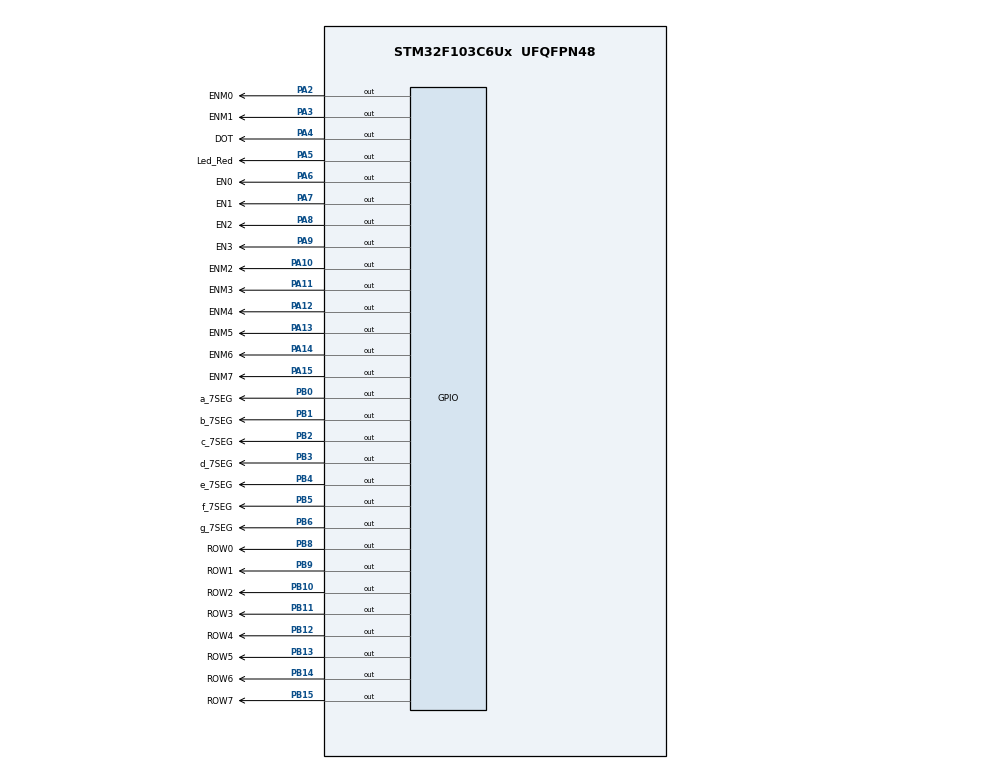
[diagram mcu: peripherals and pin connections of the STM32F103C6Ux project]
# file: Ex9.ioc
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Mcu.Family=STM32F1
Mcu.Name=STM32F103C6Ux
Mcu.Package=UFQFPN48
NVIC.PriorityGroup=NVIC_PRIORITYGROUP_4
NVIC.TIM2_IRQn=true\:0\:0\:false\:false\:true\:true\:true
PA10.GPIO_Label=ENM2
PA10.Signal=GPIO_Output
PA11.GPIO_Label=ENM3
PA11.Signal=GPIO_Output
PA12.GPIO_Label=ENM4
PA12.Signal=GPIO_Output
PA13.GPIO_Label=ENM5
PA13.Signal=GPIO_Output
PA14.GPIO_Label=ENM6
PA14.Signal=GPIO_Output
PA15.GPIO_Label=ENM7
PA15.Signal=GPIO_Output
PA2.GPIO_Label=ENM0
PA2.Signal=GPIO_Output
PA3.GPIO_Label=ENM1
PA3.Signal=GPIO_Output
PA4.GPIO_Label=DOT
PA4.Signal=GPIO_Output
PA5.GPIO_Label=Led_Red
PA5.Signal=GPIO_Output
PA6.GPIO_Label=EN0
PA6.Signal=GPIO_Output
PA7.GPIO_Label=EN1
PA7.Signal=GPIO_Output
PA8.GPIO_Label=EN2
PA8.Signal=GPIO_Output
PA9.GPIO_Label=EN3
PA9.Signal=GPIO_Output
PB0.GPIO_Label=a_7SEG
PB0.Signal=GPIO_Output
PB1.GPIO_Label=b_7SEG
PB1.Signal=GPIO_Output
PB10.GPIO_Label=ROW2
PB10.Signal=GPIO_Output
PB11.GPIO_Label=ROW3
PB11.Signal=GPIO_Output
PB12.GPIO_Label=ROW4
PB12.Signal=GPIO_Output
PB13.GPIO_Label=ROW5
PB13.Signal=GPIO_Output
PB14.GPIO_Label=ROW6
PB14.Signal=GPIO_Output
PB15.GPIO_Label=ROW7
PB15.Signal=GPIO_Output
PB2.GPIO_Label=c_7SEG
PB2.Signal=GPIO_Output
PB3.GPIO_Label=d_7SEG
PB3.Signal=GPIO_Output
PB4.GPIO_Label=e_7SEG
PB4.Signal=GPIO_Output
PB5.GPIO_Label=f_7SEG
PB5.Signal=GPIO_Output
PB6.GPIO_Label=g_7SEG
PB6.Signal=GPIO_Output
PB8.GPIO_Label=ROW0
PB8.Signal=GPIO_Output
PB9.GPIO_Label=ROW1
PB9.Signal=GPIO_Output
ProjectManager.HeapSize=0x200
ProjectManager.StackSize=0x400
ProjectManager.TargetToolchain=STM32CubeIDE
RCC.APB1Freq_Value=8000000
RCC.APB2Freq_Value=8000000
TIM2.Period=9
TIM2.Prescaler=7999
VP_SYS_VS_ND.Mode=No_Debug
VP_TIM2_VS_ClockSourceINT.Mode=Internal
board=custom

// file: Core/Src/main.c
/* USER CODE BEGIN Header */
/**
  ******************************************************************************
  * @file           : main.c
  * @brief          : Main program body
  ******************************************************************************
  * @attention
  *
  * <h2><center>&copy; Copyright (c) 2022 STMicroelectronics.
  * All rights reserved.</center></h2>
  *
  * This software component is licensed by ST under BSD 3-Clause license,
  * the "License"; You may not use this file except in compliance with the
  * License. You may obtain a copy of the License at:
  *                        opensource.org/licenses/BSD-3-Clause
  *
  ******************************************************************************
  */
/* USER CODE END Header */
#include "main.h"

/* USER CODE BEGIN Includes */
#include "software_timer.h"
/* USER CODE END Includes */

TIM_HandleTypeDef htim2;

void SystemClock_Config(void);
static void MX_TIM2_Init(void);
static void MX_GPIO_Init(void);

/* USER CODE BEGIN 0 */
void display7SEG (int counter){
    //Turn on all segments
    HAL_GPIO_WritePin(GPIOB, a_7SEG_Pin|b_7SEG_Pin|c_7SEG_Pin|
    d_7SEG_Pin|e_7SEG_Pin|f_7SEG_Pin|g_7SEG_Pin, 0);

	switch (counter){
    	case 0:
		    HAL_GPIO_WritePin(GPIOB, g_7SEG_Pin, 1);
	  		break;
		case 1:
		    HAL_GPIO_WritePin(GPIOB, a_7SEG_Pin|d_7SEG_Pin|e_7SEG_Pin|
		    f_7SEG_Pin|g_7SEG_Pin, 1);
	  		break;
		case 2:
	  		HAL_GPIO_WritePin(GPIOB, c_7SEG_Pin|f_7SEG_Pin, 1);
	  		break;
		case 3:
	  	    HAL_GPIO_WritePin(GPIOB, e_7SEG_Pin|f_7SEG_Pin, 1);
	  	    break;
		case 4:
	  	    HAL_GPIO_WritePin(GPIOB, a_7SEG_Pin|d_7SEG_Pin|
	  		e_7SEG_Pin, 1);
	  		break;
		case 5:
	  		HAL_GPIO_WritePin(GPIOB, b_7SEG_Pin|e_7SEG_Pin, 1);
	  		break;
		case 6:
	  		HAL_GPIO_WritePin(GPIOB, b_7SEG_Pin, 1);
	  		break;
		case 7:
	  		HAL_GPIO_WritePin(GPIOB, d_7SEG_Pin|e_7SEG_Pin|f_7SEG_Pin|
	  		g_7SEG_Pin, 1);
	  		break;
		case 8:
	  		break;
		case 9:
	  		HAL_GPIO_WritePin(GPIOB, e_7SEG_Pin, 1);
	  		break;
		default:
	  		HAL_GPIO_WritePin(GPIOB, a_7SEG_Pin|b_7SEG_Pin|c_7SEG_Pin|
	  		d_7SEG_Pin|e_7SEG_Pin|f_7SEG_Pin|g_7SEG_Pin, 1);
	  		break;
	  }
}

const int MAX_LED = 4;
int index_led = 0;
int led_buffer[4] = {1, 2, 3, 4};
int hour = 15, minute = 8, second = 50;

void updateClockBuffer(){
	led_buffer[0] = hour / 10;		//First digit of hour
	led_buffer[1] = hour % 10;		//Second digit of hour
	led_buffer[2] = minute / 10;	//First digit of minute
	led_buffer[3] = minute % 10;	//Second digit of minute
}

void update7SEG(int index){
	HAL_GPIO_WritePin(GPIOA, EN0_Pin|EN1_Pin|EN2_Pin|EN3_Pin, 1);
	display7SEG(led_buffer[index]);
    switch (index){
        case 0:
            //Display the first 7SEG with led_buffer[0]
        	HAL_GPIO_WritePin(GPIOA, EN0_Pin, 0);
            break;
        case 1:
            //Display the second 7SEG with led_buffer[1]
        	HAL_GPIO_WritePin(GPIOA, EN1_Pin, 0);
            break;
        case 2:
            //Display the third 7SEG with led_buffer[2]
        	HAL_GPIO_WritePin(GPIOA, EN2_Pin, 0);
            break;
        case 3:
            //Display the forth 7SEG with led_buffer[3]
        	HAL_GPIO_WritePin(GPIOA, EN3_Pin, 0);
            break;
        default:
            break;
    }
}

const int MAX_LED_MATRIX = 8;
int index_led_matrix = 0;
uint8_t matrix_buffer[8] = {0x18, 0x24, 0x42, 0x42, 0x7E, 0x42, 0x42, 0x42}; //Display A

void updateLEDMatrix(int index){
	//First, we set all columns and rows to 1
	//to turn off matrix
	HAL_GPIO_WritePin(GPIOB, ROW0_Pin|ROW1_Pin|ROW2_Pin|ROW3_Pin|ROW4_Pin|ROW5_Pin|ROW6_Pin| ROW7_Pin, 1);
	HAL_GPIO_WritePin(GPIOA, ENM0_Pin|ENM1_Pin|ENM2_Pin|ENM3_Pin|ENM4_Pin|ENM5_Pin|ENM6_Pin| ENM7_Pin, 1);

	//Enable signal
	switch (index){
        case 0:
        	HAL_GPIO_WritePin(GPIOA, ENM0_Pin, 0);
            break;
        case 1:
        	HAL_GPIO_WritePin(GPIOA, ENM1_Pin, 0);
            break;
        case 2:
        	HAL_GPIO_WritePin(GPIOA, ENM2_Pin, 0);
            break;
        case 3:
        	HAL_GPIO_WritePin(GPIOA, ENM3_Pin, 0);
            break;
        case 4:
        	HAL_GPIO_WritePin(GPIOA, ENM4_Pin, 0);
            break;
        case 5:
        	HAL_GPIO_WritePin(GPIOA, ENM5_Pin, 0);
            break;
        case 6:
        	HAL_GPIO_WritePin(GPIOA, ENM6_Pin, 0);
            break;
        case 7:
        	HAL_GPIO_WritePin(GPIOA, ENM7_Pin, 0);
            break;
        default:
            break;
    }
	//Set data signal but also keep other I/O port unchanged
	GPIOB->BSRR = (matrix_buffer[index]) << 24;
}

void shiftLeftMatrix(){
	for (int i = 0; i < MAX_LED_MATRIX; i++) {
		//Capture the bit that's shifted out
		int lostBit = matrix_buffer[i] >> 7;
		matrix_buffer[i]  <<= 1;
		//Add lost bit to the end of current buffer
		matrix_buffer[i] |= lostBit;
	}
}
/* USER CODE END 0 */

int main(void)
{

  /* MCU Configuration--------------------------------------------------------*/

  /* Reset of all peripherals, Initializes the Flash interface and the Systick. */
  HAL_Init();

  /* Configure the system clock */
  SystemClock_Config();

  /* Initialize all configured peripherals */
  MX_TIM2_Init();
  MX_GPIO_Init();
  /* USER CODE BEGIN 2 */
  HAL_TIM_Base_Start_IT (& htim2 );
  /* USER CODE END 2 */

  /* Infinite loop */
  /* USER CODE BEGIN WHILE */
  setTimer0(1000);
  setTimer1(10);
  while(1){
	  if (timer0_flag == 1){
		  second++;
		  if (second >= 60){
			  second = 0;
			  minute++;
		  }
		  if (minute >= 60){
			  minute = 0;
			  hour++;
		  }
		  if (hour >= 24){
			  hour = 0;
		  }
		  updateClockBuffer();
		  HAL_GPIO_TogglePin(GPIOA, DOT_Pin);
		  shiftLeftMatrix();
		  setTimer0(1000);
	  }

	  if (timer1_flag == 1){
		  HAL_GPIO_TogglePin ( Led_Red_GPIO_Port , Led_Red_Pin );

		  if (index_led >= MAX_LED) index_led = 0;
		  update7SEG(index_led++);

		  if (index_led_matrix >= MAX_LED_MATRIX) index_led_matrix = 0;
		  updateLEDMatrix(index_led_matrix++);
		  setTimer1(10);
	  }
  }
    /* USER CODE END WHILE */

}

void SystemClock_Config(void)
{
  RCC_OscInitTypeDef RCC_OscInitStruct = {0};
  RCC_ClkInitTypeDef RCC_ClkInitStruct = {0};

  /** Initializes the RCC Oscillators according to the specified parameters
  * in the RCC_OscInitTypeDef structure.
  */
  RCC_OscInitStruct.OscillatorType = RCC_OSCILLATORTYPE_HSI;
  RCC_OscInitStruct.HSIState = RCC_HSI_ON;
  RCC_OscInitStruct.HSICalibrationValue = RCC_HSICALIBRATION_DEFAULT;
  RCC_OscInitStruct.PLL.PLLState = RCC_PLL_NONE;
  if (HAL_RCC_OscConfig(&RCC_OscInitStruct) != HAL_OK)
  {
    Error_Handler();
  }
  /** Initializes the CPU, AHB and APB buses clocks
  */
  RCC_ClkInitStruct.ClockType = RCC_CLOCKTYPE_HCLK|RCC_CLOCKTYPE_SYSCLK
                              |RCC_CLOCKTYPE_PCLK1|RCC_CLOCKTYPE_PCLK2;
  RCC_ClkInitStruct.SYSCLKSource = RCC_SYSCLKSOURCE_HSI;
  RCC_ClkInitStruct.AHBCLKDivider = RCC_SYSCLK_DIV1;
  RCC_ClkInitStruct.APB1CLKDivider = RCC_HCLK_DIV1;
  RCC_ClkInitStruct.APB2CLKDivider = RCC_HCLK_DIV1;

  if (HAL_RCC_ClockConfig(&RCC_ClkInitStruct, FLASH_LATENCY_0) != HAL_OK)
  {
    Error_Handler();
  }
}

static void MX_TIM2_Init(void)
{

  TIM_ClockConfigTypeDef sClockSourceConfig = {0};
  TIM_MasterConfigTypeDef sMasterConfig = {0};

  htim2.Instance = TIM2;
  htim2.Init.Prescaler = 7999;
  htim2.Init.CounterMode = TIM_COUNTERMODE_UP;
  htim2.Init.Period = 9;
  htim2.Init.ClockDivision = TIM_CLOCKDIVISION_DIV1;
  htim2.Init.AutoReloadPreload = TIM_AUTORELOAD_PRELOAD_DISABLE;
  if (HAL_TIM_Base_Init(&htim2) != HAL_OK)
  {
    Error_Handler();
  }
  sClockSourceConfig.ClockSource = TIM_CLOCKSOURCE_INTERNAL;
  if (HAL_TIM_ConfigClockSource(&htim2, &sClockSourceConfig) != HAL_OK)
  {
    Error_Handler();
  }
  sMasterConfig.MasterOutputTrigger = TIM_TRGO_RESET;
  sMasterConfig.MasterSlaveMode = TIM_MASTERSLAVEMODE_DISABLE;
  if (HAL_TIMEx_MasterConfigSynchronization(&htim2, &sMasterConfig) != HAL_OK)
  {
    Error_Handler();
  }

}

static void MX_GPIO_Init(void)
{
  GPIO_InitTypeDef GPIO_InitStruct = {0};

  /* GPIO Ports Clock Enable */
  __HAL_RCC_GPIOA_CLK_ENABLE();
  __HAL_RCC_GPIOB_CLK_ENABLE();

  /*Configure GPIO pin Output Level */
  HAL_GPIO_WritePin(GPIOA, ENM0_Pin|ENM1_Pin|DOT_Pin|Led_Red_Pin
                          |EN0_Pin|EN1_Pin|EN2_Pin|EN3_Pin
                          |ENM2_Pin|ENM3_Pin|ENM4_Pin|ENM5_Pin
                          |ENM6_Pin|ENM7_Pin, GPIO_PIN_RESET);

  /*Configure GPIO pin Output Level */
  HAL_GPIO_WritePin(GPIOB, a_7SEG_Pin|b_7SEG_Pin|c_7SEG_Pin|ROW2_Pin
                          |ROW3_Pin|ROW4_Pin|ROW5_Pin|ROW6_Pin
                          |ROW7_Pin|d_7SEG_Pin|e_7SEG_Pin|f_7SEG_Pin
                          |g_7SEG_Pin|ROW0_Pin|ROW1_Pin, GPIO_PIN_RESET);

  /*Configure GPIO pins : ENM0_Pin ENM1_Pin DOT_Pin Led_Red_Pin
                           EN0_Pin EN1_Pin EN2_Pin EN3_Pin
                           ENM2_Pin ENM3_Pin ENM4_Pin ENM5_Pin
                           ENM6_Pin ENM7_Pin */
  GPIO_InitStruct.Pin = ENM0_Pin|ENM1_Pin|DOT_Pin|Led_Red_Pin
                          |EN0_Pin|EN1_Pin|EN2_Pin|EN3_Pin
                          |ENM2_Pin|ENM3_Pin|ENM4_Pin|ENM5_Pin
                          |ENM6_Pin|ENM7_Pin;
  GPIO_InitStruct.Mode = GPIO_MODE_OUTPUT_PP;
  GPIO_InitStruct.Pull = GPIO_NOPULL;
  GPIO_InitStruct.Speed = GPIO_SPEED_FREQ_LOW;
  HAL_GPIO_Init(GPIOA, &GPIO_InitStruct);

  /*Configure GPIO pins : a_7SEG_Pin b_7SEG_Pin c_7SEG_Pin ROW2_Pin
                           ROW3_Pin ROW4_Pin ROW5_Pin ROW6_Pin
                           ROW7_Pin d_7SEG_Pin e_7SEG_Pin f_7SEG_Pin
                           g_7SEG_Pin ROW0_Pin ROW1_Pin */
  GPIO_InitStruct.Pin = a_7SEG_Pin|b_7SEG_Pin|c_7SEG_Pin|ROW2_Pin
                          |ROW3_Pin|ROW4_Pin|ROW5_Pin|ROW6_Pin
                          |ROW7_Pin|d_7SEG_Pin|e_7SEG_Pin|f_7SEG_Pin
                          |g_7SEG_Pin|ROW0_Pin|ROW1_Pin;
  GPIO_InitStruct.Mode = GPIO_MODE_OUTPUT_PP;
  GPIO_InitStruct.Pull = GPIO_NOPULL;
  GPIO_InitStruct.Speed = GPIO_SPEED_FREQ_LOW;
  HAL_GPIO_Init(GPIOB, &GPIO_InitStruct);

}

/* USER CODE BEGIN 4 */
void HAL_TIM_PeriodElapsedCallback ( TIM_HandleTypeDef * htim )
{
	timer_run();
}
/* USER CODE END 4 */

void Error_Handler(void)
{
  __disable_irq();
  while (1)
  {
  }
}

/************************ (C) COPYRIGHT STMicroelectronics *****END OF FILE****/
